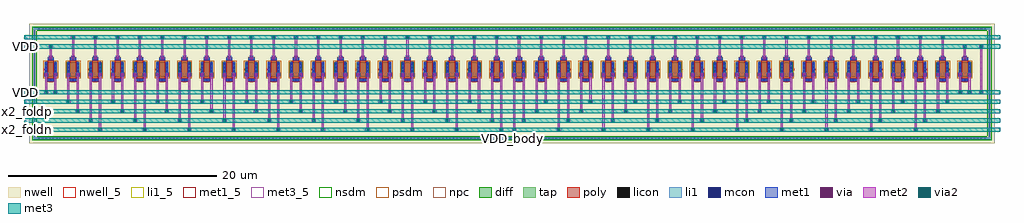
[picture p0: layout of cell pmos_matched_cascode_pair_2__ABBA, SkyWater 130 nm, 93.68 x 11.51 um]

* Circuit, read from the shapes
.subckt pmos_matched_cascode_pair_2__ABBA VDD VDD_body bias_c on op x2_foldn x2_foldp
XM1 VDD VDD VDD VDD_body sky130_fd_pr__pfet_01v8 w=1.4 l=0.6 m=2
XM2 x2_foldp bias_c on VDD_body sky130_fd_pr__pfet_01v8 w=1.4 l=0.6 m=20
XM3 x2_foldn bias_c op VDD_body sky130_fd_pr__pfet_01v8 w=1.4 l=0.6 m=20
.ends

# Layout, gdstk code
from math import pi, radians
import gdstk
lib = gdstk.Library(unit=1e-6, precision=1e-09)
def R(c, l, rs):  # rectangles x0, y0, x1, y1
    for r in rs: c.add(gdstk.rectangle(r[:2], r[2:], *l))
def A(c, l, x, y, w, h, nx, ny, dx, dy):  # array of equal rectangles
    R(c, l, [(x+i*dx, y+j*dy, x+i*dx+w, y+j*dy+h) for i in range(nx) for j in range(ny)])
nwell_5 = (64, 5)
nwell = (64, 20)
diff = (65, 20)
tap = (65, 44)
poly = (66, 20)
licon = (66, 44)
li1_5 = (67, 5)
li1 = (67, 20)
mcon = (67, 44)
met1_5 = (68, 5)
met1 = (68, 20)
via = (68, 44)
met2 = (69, 20)
via2 = (69, 44)
met3_5 = (70, 5)
met3 = (70, 20)
nsdm = (93, 44)
psdm = (94, 20)
npc = (95, 20)

sky130_fd_pr__pfet_01v8_ = lib.new_cell('sky130_fd_pr__pfet_01v8_RGDEC8')
R(sky130_fd_pr__pfet_01v8_, nwell, [(-0.77,-1.2,0.77,1.2)])
R(sky130_fd_pr__pfet_01v8_, diff, [(-0.59,-0.7,0.59,0.7)])
R(sky130_fd_pr__pfet_01v8_, poly, [(-0.3,-1.185,0.3,1.185)])
A(sky130_fd_pr__pfet_01v8_, licon, -0.53, -0.595, 0.17, 0.17, 1, 4, 0, 0.34)
A(sky130_fd_pr__pfet_01v8_, licon, 0.36, -0.595, 0.17, 0.17, 1, 4, 0, 0.34)
R(sky130_fd_pr__pfet_01v8_, licon, [(-0.085,-1.105,0.085,-0.935), (-0.085,0.935,0.085,1.105)])
R(sky130_fd_pr__pfet_01v8_, li1, [(-0.3,-1.105,0.3,-0.935), (-0.53,-0.72,-0.36,0.72), (0.36,-0.72,0.53,0.72), (-0.3,0.935,0.3,1.105)])
A(sky130_fd_pr__pfet_01v8_, mcon, -0.53, -0.625, 0.17, 0.17, 1, 4, 0, 0.36)
A(sky130_fd_pr__pfet_01v8_, mcon, 0.36, -0.625, 0.17, 0.17, 1, 4, 0, 0.36)
R(sky130_fd_pr__pfet_01v8_, mcon, [(-0.085,-1.105,0.085,-0.935), (-0.085,0.935,0.085,1.105)])
R(sky130_fd_pr__pfet_01v8_, met1, [(-0.28,-1.135,0.28,-0.905), (-0.56,-0.7,-0.33,0.7), (0.33,-0.7,0.56,0.7), (-0.28,0.905,0.28,1.135)])
R(sky130_fd_pr__pfet_01v8_, psdm, [(-0.715,-0.825,0.715,0.825)])
R(sky130_fd_pr__pfet_01v8_, npc, [(-0.185,-1.205,0.185,-0.835), (-0.185,0.835,0.185,1.205)])
sky130_fd_pr__pfet_01v8_.add(gdstk.Label('D', (-0.445,0), layer=67, texttype=5))
sky130_fd_pr__pfet_01v8_.add(gdstk.Label('S', (0.445,0), layer=67, texttype=5))
sky130_fd_pr__pfet_01v8_.add(gdstk.Label('G', (0,1.02), layer=67, texttype=5))

pfet_01v8_w1p4_l0p6_m20_ = lib.new_cell('pfet_01v8_W1p4_L0p6_m20__nf1_gboth_sdfull_ng')
R(pfet_01v8_w1p4_l0p6_m20_, nwell_5, [(0.05,1.15,0.15,1.25)])
R(pfet_01v8_w1p4_l0p6_m20_, nwell, [(0.05,1.15,0.15,1.25)])
R(pfet_01v8_w1p4_l0p6_m20_, met1_5, [(0.21,1.2,0.44,1.4), (1.1,1.2,1.33,1.4), (0.49,2.105,1.05,2.335)])
R(pfet_01v8_w1p4_l0p6_m20_, met1, [(0.21,1.2,0.44,1.4), (1.1,1.2,1.33,1.4), (0.49,2.105,1.05,2.335)])
pfet_01v8_w1p4_l0p6_m20_.add(gdstk.Reference(sky130_fd_pr__pfet_01v8_, (0.77,1.2)))
pfet_01v8_w1p4_l0p6_m20_.add(gdstk.Label('D', (0.325,1.3), layer=68, texttype=5))
pfet_01v8_w1p4_l0p6_m20_.add(gdstk.Label('S', (1.215,1.3), layer=68, texttype=5))
pfet_01v8_w1p4_l0p6_m20_.add(gdstk.Label('G', (0.77,2.22), layer=68, texttype=5))
pfet_01v8_w1p4_l0p6_m20_.add(gdstk.Label('B', (0.1,1.2), layer=64, texttype=5))

pmos_matched_cascode_pai = lib.new_cell('pmos_matched_cascode_pair_2__ABBA')
R(pmos_matched_cascode_pai, nwell, [(-1.3,-5.9,91.38,5.61)])
R(pmos_matched_cascode_pai, tap, [(-0.885,-5.485,90.965,-5.315), (-0.885,-5.315,-0.715,5.025), (90.795,-5.315,90.965,5.025), (-0.885,5.025,90.965,5.195)])
A(pmos_matched_cascode_pai, licon, -0.435, -5.485, 0.17, 0.17, 268, 2, 0.34, 10.51)
A(pmos_matched_cascode_pai, licon, -0.885, -5.16, 0.17, 0.17, 1, 30, 0, 0.34)
A(pmos_matched_cascode_pai, licon, 90.795, -5.16, 0.17, 0.17, 1, 30, 0, 0.34)
R(pmos_matched_cascode_pai, li1_5, [(44.99,-5.45,45.09,-5.35)])
R(pmos_matched_cascode_pai, li1, [(-0.885,-5.485,90.965,-5.315), (-0.885,-5.315,-0.715,5.025), (90.795,-5.315,90.965,5.025), (-0.885,5.025,90.965,5.195)])
A(pmos_matched_cascode_pai, met1, 0.59, 2.14, 0.36, 0.36, 42, 1, 2.14, 0)
R(pmos_matched_cascode_pai, met1, [(0.145,0.505,0.505,0.865), (1.035,0.505,1.395,0.865), (2.285,0.505,2.645,0.865), (3.175,0.505,3.535,0.865), (4.425,0.505,4.785,0.865), (5.315,0.505,5.675,0.865), (6.565,0.505,6.925,0.865), (7.455,0.505,7.815,0.865), (8.705,0.505,9.065,0.865), (9.595,0.505,9.955,0.865), (10.845,0.505,11.205,0.865), (11.735,0.505,12.095,0.865), (12.985,0.505,13.345,0.865), (13.875,0.505,14.235,0.865), (15.125,0.505,15.485,0.865), (16.015,0.505,16.375,0.865), (17.265,0.505,17.625,0.865), (18.155,0.505,18.515,0.865), (19.405,0.505,19.765,0.865), (20.295,0.505,20.655,0.865), (21.545,0.505,21.905,0.865), (22.435,0.505,22.795,0.865), (23.685,0.505,24.045,0.865), (24.575,0.505,24.935,0.865), (25.825,0.505,26.185,0.865), (26.715,0.505,27.075,0.865), (27.965,0.505,28.325,0.865), (28.855,0.505,29.215,0.865), (30.105,0.505,30.465,0.865), (30.995,0.505,31.355,0.865), (32.245,0.505,32.605,0.865), (33.135,0.505,33.495,0.865), (34.385,0.505,34.745,0.865), (35.275,0.505,35.635,0.865), (36.525,0.505,36.885,0.865), (37.415,0.505,37.775,0.865), (38.665,0.505,39.025,0.865), (39.555,0.505,39.915,0.865), (40.805,0.505,41.165,0.865), (41.695,0.505,42.055,0.865), (42.945,0.505,43.305,0.865), (43.835,0.505,44.195,0.865), (45.085,0.505,45.445,0.865), (45.975,0.505,46.335,0.865), (47.225,0.505,47.585,0.865), (48.115,0.505,48.475,0.865), (49.365,0.505,49.725,0.865), (50.255,0.505,50.615,0.865), (51.505,0.505,51.865,0.865), (52.395,0.505,52.755,0.865), (53.645,0.505,54.005,0.865), (54.535,0.505,54.895,0.865), (55.785,0.505,56.145,0.865), (56.675,0.505,57.035,0.865), (57.925,0.505,58.285,0.865), (58.815,0.505,59.175,0.865), (60.065,0.505,60.425,0.865), (60.955,0.505,61.315,0.865), (62.205,0.505,62.565,0.865), (63.095,0.505,63.455,0.865), (64.345,0.505,64.705,0.865), (65.235,0.505,65.595,0.865), (66.485,0.505,66.845,0.865), (67.375,0.505,67.735,0.865), (68.625,0.505,68.985,0.865), (69.515,0.505,69.875,0.865), (70.765,0.505,71.125,0.865), (71.655,0.505,72.015,0.865), (72.905,0.505,73.265,0.865), (73.795,0.505,74.155,0.865), (75.045,0.505,75.405,0.865), (75.935,0.505,76.295,0.865), (77.185,0.505,77.545,0.865), (78.075,0.505,78.435,0.865), (79.325,0.505,79.685,0.865), (80.215,0.505,80.575,0.865), (81.465,0.505,81.825,0.865), (82.355,0.505,82.715,0.865), (83.605,0.505,83.965,0.865), (84.495,0.505,84.855,0.865), (85.745,0.505,86.105,0.865), (86.635,0.505,86.995,0.865), (87.885,0.505,88.245,0.865), (88.775,0.505,89.135,0.865)])
A(pmos_matched_cascode_pai, via, 0.695, 2.245, 0.15, 0.15, 42, 1, 2.14, 0)
R(pmos_matched_cascode_pai, via, [(0.25,0.61,0.4,0.76), (1.14,0.61,1.29,0.76), (2.39,0.61,2.54,0.76), (3.28,0.61,3.43,0.76), (4.53,0.61,4.68,0.76), (5.42,0.61,5.57,0.76), (6.67,0.61,6.82,0.76), (7.56,0.61,7.71,0.76), (8.81,0.61,8.96,0.76), (9.7,0.61,9.85,0.76), (10.95,0.61,11.1,0.76), (11.84,0.61,11.99,0.76), (13.09,0.61,13.24,0.76), (13.98,0.61,14.13,0.76), (15.23,0.61,15.38,0.76), (16.12,0.61,16.27,0.76), (17.37,0.61,17.52,0.76), (18.26,0.61,18.41,0.76), (19.51,0.61,19.66,0.76), (20.4,0.61,20.55,0.76), (21.65,0.61,21.8,0.76), (22.54,0.61,22.69,0.76), (23.79,0.61,23.94,0.76), (24.68,0.61,24.83,0.76), (25.93,0.61,26.08,0.76), (26.82,0.61,26.97,0.76), (28.07,0.61,28.22,0.76), (28.96,0.61,29.11,0.76), (30.21,0.61,30.36,0.76), (31.1,0.61,31.25,0.76), (32.35,0.61,32.5,0.76), (33.24,0.61,33.39,0.76), (34.49,0.61,34.64,0.76), (35.38,0.61,35.53,0.76), (36.63,0.61,36.78,0.76), (37.52,0.61,37.67,0.76), (38.77,0.61,38.92,0.76), (39.66,0.61,39.81,0.76), (40.91,0.61,41.06,0.76), (41.8,0.61,41.95,0.76), (43.05,0.61,43.2,0.76), (43.94,0.61,44.09,0.76), (45.19,0.61,45.34,0.76), (46.08,0.61,46.23,0.76), (47.33,0.61,47.48,0.76), (48.22,0.61,48.37,0.76), (49.47,0.61,49.62,0.76), (50.36,0.61,50.51,0.76), (51.61,0.61,51.76,0.76), (52.5,0.61,52.65,0.76), (53.75,0.61,53.9,0.76), (54.64,0.61,54.79,0.76), (55.89,0.61,56.04,0.76), (56.78,0.61,56.93,0.76), (58.03,0.61,58.18,0.76), (58.92,0.61,59.07,0.76), (60.17,0.61,60.32,0.76), (61.06,0.61,61.21,0.76), (62.31,0.61,62.46,0.76), (63.2,0.61,63.35,0.76), (64.45,0.61,64.6,0.76), (65.34,0.61,65.49,0.76), (66.59,0.61,66.74,0.76), (67.48,0.61,67.63,0.76), (68.73,0.61,68.88,0.76), (69.62,0.61,69.77,0.76), (70.87,0.61,71.02,0.76), (71.76,0.61,71.91,0.76), (73.01,0.61,73.16,0.76), (73.9,0.61,74.05,0.76), (75.15,0.61,75.3,0.76), (76.04,0.61,76.19,0.76), (77.29,0.61,77.44,0.76), (78.18,0.61,78.33,0.76), (79.43,0.61,79.58,0.76), (80.32,0.61,80.47,0.76), (81.57,0.61,81.72,0.76), (82.46,0.61,82.61,0.76), (83.71,0.61,83.86,0.76), (84.6,0.61,84.75,0.76), (85.85,0.61,86,0.76), (86.74,0.61,86.89,0.76), (87.99,0.61,88.14,0.76), (88.88,0.61,89.03,0.76)])
A(pmos_matched_cascode_pai, met2, 5.295, -4.8, 0.4, 0.4, 10, 1, 4.28, 0)
A(pmos_matched_cascode_pai, met2, 45.065, -4.8, 0.4, 0.4, 10, 1, 4.28, 0)
A(pmos_matched_cascode_pai, met2, 5.395, -4.4, 0.2, 4.925, 10, 1, 4.28, 0)
A(pmos_matched_cascode_pai, met2, 45.165, -4.4, 0.2, 4.925, 10, 1, 4.28, 0)
A(pmos_matched_cascode_pai, met2, 4.405, -3.9, 0.4, 0.4, 10, 1, 4.28, 0)
A(pmos_matched_cascode_pai, met2, 45.955, -3.9, 0.4, 0.4, 10, 1, 4.28, 0)
A(pmos_matched_cascode_pai, met2, 4.505, -3.5, 0.2, 4.025, 10, 1, 4.28, 0)
A(pmos_matched_cascode_pai, met2, 46.055, -3.5, 0.2, 4.025, 10, 1, 4.28, 0)
A(pmos_matched_cascode_pai, met2, 3.155, -3, 0.4, 0.4, 10, 1, 4.28, 0)
A(pmos_matched_cascode_pai, met2, 47.205, -3, 0.4, 0.4, 10, 1, 4.28, 0)
A(pmos_matched_cascode_pai, met2, 3.255, -2.6, 0.2, 3.125, 10, 1, 4.28, 0)
A(pmos_matched_cascode_pai, met2, 47.305, -2.6, 0.2, 3.125, 10, 1, 4.28, 0)
A(pmos_matched_cascode_pai, met2, 2.265, -2.1, 0.4, 0.4, 10, 1, 4.28, 0)
A(pmos_matched_cascode_pai, met2, 48.095, -2.1, 0.4, 0.4, 10, 1, 4.28, 0)
A(pmos_matched_cascode_pai, met2, 2.365, -1.7, 0.2, 2.225, 10, 1, 4.28, 0)
A(pmos_matched_cascode_pai, met2, 48.195, -1.7, 0.2, 2.225, 10, 1, 4.28, 0)
A(pmos_matched_cascode_pai, met2, 0.64, 2.16, 0.26, 0.32, 42, 1, 2.14, 0)
A(pmos_matched_cascode_pai, met2, 2.81, 2.48, 0.2, 1.63, 40, 1, 2.14, 0)
A(pmos_matched_cascode_pai, met2, 2.71, 4.11, 0.4, 0.4, 40, 1, 2.14, 0)
R(pmos_matched_cascode_pai, met2, [(0.125,-1.2,0.525,-0.8), (1.015,-1.2,1.415,-0.8), (87.865,-1.2,88.265,-0.8), (88.755,-1.2,89.155,-0.8), (89.88,-1.2,90.28,-0.8), (0.225,-0.8,0.425,0.525), (1.115,-0.8,1.315,0.525), (87.965,-0.8,88.165,0.525), (88.855,-0.8,89.055,0.525), (89.98,-0.8,90.18,3.21), (0.195,0.525,0.455,0.845), (1.085,0.525,1.345,0.845), (2.335,0.525,2.595,0.845), (3.225,0.525,3.485,0.845), (4.475,0.525,4.735,0.845), (5.365,0.525,5.625,0.845), (6.615,0.525,6.875,0.845), (7.505,0.525,7.765,0.845), (8.755,0.525,9.015,0.845), (9.645,0.525,9.905,0.845), (10.895,0.525,11.155,0.845), (11.785,0.525,12.045,0.845), (13.035,0.525,13.295,0.845), (13.925,0.525,14.185,0.845), (15.175,0.525,15.435,0.845), (16.065,0.525,16.325,0.845), (17.315,0.525,17.575,0.845), (18.205,0.525,18.465,0.845), (19.455,0.525,19.715,0.845), (20.345,0.525,20.605,0.845), (21.595,0.525,21.855,0.845), (22.485,0.525,22.745,0.845), (23.735,0.525,23.995,0.845), (24.625,0.525,24.885,0.845), (25.875,0.525,26.135,0.845), (26.765,0.525,27.025,0.845), (28.015,0.525,28.275,0.845), (28.905,0.525,29.165,0.845), (30.155,0.525,30.415,0.845), (31.045,0.525,31.305,0.845), (32.295,0.525,32.555,0.845), (33.185,0.525,33.445,0.845), (34.435,0.525,34.695,0.845), (35.325,0.525,35.585,0.845), (36.575,0.525,36.835,0.845), (37.465,0.525,37.725,0.845), (38.715,0.525,38.975,0.845), (39.605,0.525,39.865,0.845), (40.855,0.525,41.115,0.845), (41.745,0.525,42.005,0.845), (42.995,0.525,43.255,0.845), (43.885,0.525,44.145,0.845), (45.135,0.525,45.395,0.845), (46.025,0.525,46.285,0.845), (47.275,0.525,47.535,0.845), (48.165,0.525,48.425,0.845), (49.415,0.525,49.675,0.845), (50.305,0.525,50.565,0.845), (51.555,0.525,51.815,0.845), (52.445,0.525,52.705,0.845), (53.695,0.525,53.955,0.845), (54.585,0.525,54.845,0.845), (55.835,0.525,56.095,0.845), (56.725,0.525,56.985,0.845), (57.975,0.525,58.235,0.845), (58.865,0.525,59.125,0.845), (60.115,0.525,60.375,0.845), (61.005,0.525,61.265,0.845), (62.255,0.525,62.515,0.845), (63.145,0.525,63.405,0.845), (64.395,0.525,64.655,0.845), (65.285,0.525,65.545,0.845), (66.535,0.525,66.795,0.845), (67.425,0.525,67.685,0.845), (68.675,0.525,68.935,0.845), (69.565,0.525,69.825,0.845), (70.815,0.525,71.075,0.845), (71.705,0.525,71.965,0.845), (72.955,0.525,73.215,0.845), (73.845,0.525,74.105,0.845), (75.095,0.525,75.355,0.845), (75.985,0.525,76.245,0.845), (77.235,0.525,77.495,0.845), (78.125,0.525,78.385,0.845), (79.375,0.525,79.635,0.845), (80.265,0.525,80.525,0.845), (81.515,0.525,81.775,0.845), (82.405,0.525,82.665,0.845), (83.655,0.525,83.915,0.845), (84.545,0.525,84.805,0.845), (85.795,0.525,86.055,0.845), (86.685,0.525,86.945,0.845), (87.935,0.525,88.195,0.845), (88.825,0.525,89.085,0.845), (0.67,2.48,0.87,3.21), (88.41,2.48,88.61,3.21), (0.57,3.21,0.97,3.61), (88.31,3.21,88.71,3.61), (89.88,3.21,90.28,3.61)])
A(pmos_matched_cascode_pai, via2, 5.395, -4.7, 0.2, 0.2, 10, 1, 4.28, 0)
A(pmos_matched_cascode_pai, via2, 45.165, -4.7, 0.2, 0.2, 10, 1, 4.28, 0)
A(pmos_matched_cascode_pai, via2, 4.505, -3.8, 0.2, 0.2, 10, 1, 4.28, 0)
A(pmos_matched_cascode_pai, via2, 46.055, -3.8, 0.2, 0.2, 10, 1, 4.28, 0)
A(pmos_matched_cascode_pai, via2, 3.255, -2.9, 0.2, 0.2, 10, 1, 4.28, 0)
A(pmos_matched_cascode_pai, via2, 47.305, -2.9, 0.2, 0.2, 10, 1, 4.28, 0)
A(pmos_matched_cascode_pai, via2, 2.365, -2, 0.2, 0.2, 10, 1, 4.28, 0)
A(pmos_matched_cascode_pai, via2, 48.195, -2, 0.2, 0.2, 10, 1, 4.28, 0)
A(pmos_matched_cascode_pai, via2, 2.81, 4.21, 0.2, 0.2, 40, 1, 2.14, 0)
R(pmos_matched_cascode_pai, via2, [(0.225,-1.1,0.425,-0.9), (1.115,-1.1,1.315,-0.9), (87.965,-1.1,88.165,-0.9), (88.855,-1.1,89.055,-0.9), (89.98,-1.1,90.18,-0.9), (0.67,3.31,0.87,3.51), (88.41,3.31,88.61,3.51), (89.98,3.31,90.18,3.51)])
A(pmos_matched_cascode_pai, met3_5, -1.7, -4.65, 0.1, 0.1, 1, 5, 0, 0.9)
R(pmos_matched_cascode_pai, met3_5, [(-1.7,3.36,-1.6,3.46), (-1.7,4.26,-1.6,4.36)])
A(pmos_matched_cascode_pai, met3, -1.8, -4.8, 93.68, 0.4, 1, 5, 0, 0.9)
R(pmos_matched_cascode_pai, met3, [(-1.8,3.21,91.88,3.61), (-1.8,4.11,91.88,4.51)])
R(pmos_matched_cascode_pai, nsdm, [(-1.01,-5.61,91.09,-5.19), (-1.01,-5.19,-0.59,4.9), (90.67,-5.19,91.09,4.9), (-1.01,4.9,91.09,5.32)])
pmos_matched_cascode_pai.add(gdstk.Reference(pfet_01v8_w1p4_l0p6_m20_, (89.28,0), rotation=pi, x_reflection=True))
pmos_matched_cascode_pai.add(gdstk.Reference(pfet_01v8_w1p4_l0p6_m20_, (87.14,0), rotation=pi, x_reflection=True))
pmos_matched_cascode_pai.add(gdstk.Reference(pfet_01v8_w1p4_l0p6_m20_, (85,0), rotation=pi, x_reflection=True))
pmos_matched_cascode_pai.add(gdstk.Reference(pfet_01v8_w1p4_l0p6_m20_, (82.86,0), rotation=pi, x_reflection=True))
pmos_matched_cascode_pai.add(gdstk.Reference(pfet_01v8_w1p4_l0p6_m20_, (80.72,0), rotation=pi, x_reflection=True))
pmos_matched_cascode_pai.add(gdstk.Reference(pfet_01v8_w1p4_l0p6_m20_, (78.58,0), rotation=pi, x_reflection=True))
pmos_matched_cascode_pai.add(gdstk.Reference(pfet_01v8_w1p4_l0p6_m20_, (76.44,0), rotation=pi, x_reflection=True))
pmos_matched_cascode_pai.add(gdstk.Reference(pfet_01v8_w1p4_l0p6_m20_, (74.3,0), rotation=pi, x_reflection=True))
pmos_matched_cascode_pai.add(gdstk.Reference(pfet_01v8_w1p4_l0p6_m20_, (72.16,0), rotation=pi, x_reflection=True))
pmos_matched_cascode_pai.add(gdstk.Reference(pfet_01v8_w1p4_l0p6_m20_, (70.02,0), rotation=pi, x_reflection=True))
pmos_matched_cascode_pai.add(gdstk.Reference(pfet_01v8_w1p4_l0p6_m20_, (67.88,0), rotation=pi, x_reflection=True))
pmos_matched_cascode_pai.add(gdstk.Reference(pfet_01v8_w1p4_l0p6_m20_, (65.74,0), rotation=pi, x_reflection=True))
pmos_matched_cascode_pai.add(gdstk.Reference(pfet_01v8_w1p4_l0p6_m20_, (63.6,0), rotation=pi, x_reflection=True))
pmos_matched_cascode_pai.add(gdstk.Reference(pfet_01v8_w1p4_l0p6_m20_, (61.46,0), rotation=pi, x_reflection=True))
pmos_matched_cascode_pai.add(gdstk.Reference(pfet_01v8_w1p4_l0p6_m20_, (59.32,0), rotation=pi, x_reflection=True))
pmos_matched_cascode_pai.add(gdstk.Reference(pfet_01v8_w1p4_l0p6_m20_, (57.18,0), rotation=pi, x_reflection=True))
pmos_matched_cascode_pai.add(gdstk.Reference(pfet_01v8_w1p4_l0p6_m20_, (55.04,0), rotation=pi, x_reflection=True))
pmos_matched_cascode_pai.add(gdstk.Reference(pfet_01v8_w1p4_l0p6_m20_, (52.9,0), rotation=pi, x_reflection=True))
pmos_matched_cascode_pai.add(gdstk.Reference(pfet_01v8_w1p4_l0p6_m20_, (50.76,0), rotation=pi, x_reflection=True))
pmos_matched_cascode_pai.add(gdstk.Reference(pfet_01v8_w1p4_l0p6_m20_, (48.62,0), rotation=pi, x_reflection=True))
pmos_matched_cascode_pai.add(gdstk.Reference(pfet_01v8_w1p4_l0p6_m20_, (46.48,0), rotation=pi, x_reflection=True))
pmos_matched_cascode_pai.add(gdstk.Reference(pfet_01v8_w1p4_l0p6_m20_, (42.8,0)))
pmos_matched_cascode_pai.add(gdstk.Reference(pfet_01v8_w1p4_l0p6_m20_, (40.66,0)))
pmos_matched_cascode_pai.add(gdstk.Reference(pfet_01v8_w1p4_l0p6_m20_, (38.52,0)))
pmos_matched_cascode_pai.add(gdstk.Reference(pfet_01v8_w1p4_l0p6_m20_, (36.38,0)))
pmos_matched_cascode_pai.add(gdstk.Reference(pfet_01v8_w1p4_l0p6_m20_, (34.24,0)))
pmos_matched_cascode_pai.add(gdstk.Reference(pfet_01v8_w1p4_l0p6_m20_, (32.1,0)))
pmos_matched_cascode_pai.add(gdstk.Reference(pfet_01v8_w1p4_l0p6_m20_, (29.96,0)))
pmos_matched_cascode_pai.add(gdstk.Reference(pfet_01v8_w1p4_l0p6_m20_, (27.82,0)))
pmos_matched_cascode_pai.add(gdstk.Reference(pfet_01v8_w1p4_l0p6_m20_, (25.68,0)))
pmos_matched_cascode_pai.add(gdstk.Reference(pfet_01v8_w1p4_l0p6_m20_, (23.54,0)))
pmos_matched_cascode_pai.add(gdstk.Reference(pfet_01v8_w1p4_l0p6_m20_, (21.4,0)))
pmos_matched_cascode_pai.add(gdstk.Reference(pfet_01v8_w1p4_l0p6_m20_, (19.26,0)))
pmos_matched_cascode_pai.add(gdstk.Reference(pfet_01v8_w1p4_l0p6_m20_, (17.12,0)))
pmos_matched_cascode_pai.add(gdstk.Reference(pfet_01v8_w1p4_l0p6_m20_, (14.98,0)))
pmos_matched_cascode_pai.add(gdstk.Reference(pfet_01v8_w1p4_l0p6_m20_, (12.84,0)))
pmos_matched_cascode_pai.add(gdstk.Reference(pfet_01v8_w1p4_l0p6_m20_, (10.7,0)))
pmos_matched_cascode_pai.add(gdstk.Reference(pfet_01v8_w1p4_l0p6_m20_, (8.56,0)))
pmos_matched_cascode_pai.add(gdstk.Reference(pfet_01v8_w1p4_l0p6_m20_, (6.42,0)))
pmos_matched_cascode_pai.add(gdstk.Reference(pfet_01v8_w1p4_l0p6_m20_, (4.28,0)))
pmos_matched_cascode_pai.add(gdstk.Reference(pfet_01v8_w1p4_l0p6_m20_, (2.14,0)))
pmos_matched_cascode_pai.add(gdstk.Reference(pfet_01v8_w1p4_l0p6_m20_, (0,0)))
pmos_matched_cascode_pai.add(gdstk.Label('VDD', (-1.65,3.41), layer=70, texttype=5))
pmos_matched_cascode_pai.add(gdstk.Label('bias_c', (-1.65,4.31), layer=70, texttype=5))
pmos_matched_cascode_pai.add(gdstk.Label('VDD', (-1.65,-1), layer=70, texttype=5))
pmos_matched_cascode_pai.add(gdstk.Label('on', (-1.65,-1.9), layer=70, texttype=5))
pmos_matched_cascode_pai.add(gdstk.Label('x2_foldp', (-1.65,-2.8), layer=70, texttype=5))
pmos_matched_cascode_pai.add(gdstk.Label('op', (-1.65,-3.7), layer=70, texttype=5))
pmos_matched_cascode_pai.add(gdstk.Label('x2_foldn', (-1.65,-4.6), layer=70, texttype=5))
pmos_matched_cascode_pai.add(gdstk.Label('VDD_body', (45.04,-5.4), layer=67, texttype=5))

lib.write_gds('pmos_matched_cascode_pair_2__ABBA.gds')
